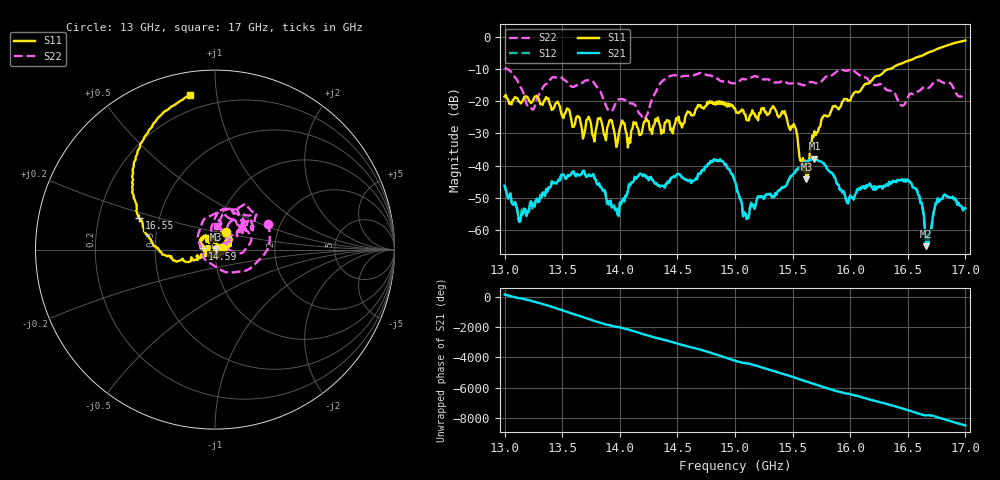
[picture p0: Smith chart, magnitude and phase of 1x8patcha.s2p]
!Keysight Technologies,P9374A,MY57211807,A.19.30.04
!Date: Friday, May 08, 2026 14:01:06
!Correction: S11(C  2-Port  )
!S21(C  2-Port  )
!S12(C  2-Port  )
!S22(C  2-Port  )
!S2P File: Measurements: S11, S21, S12, S22:
# Hz S  dB  R 50
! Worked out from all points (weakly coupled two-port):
!   401 points, 13 GHz to 17 GHz, reference 50 ohm
!   highest |S21| = -37.86 dB at 15.69 GHz (marker M1); lowest = -65.0 dB at 16.66 GHz (marker M2)
!   lowest |S11| = -44.2 dB at 15.62 GHz (marker M3), VSWR 1.01, Z = 50.5 + j0.395 ohm
!   |S11| at or under -10 dB: start of sweep to 16.35 GHz
!   |S22| runs from -25.8 to -9.7 dB; largest |S21 - S12| = 0.00047
!   S11 on the Smith chart (normalised r, x): 13 GHz: 1.11, +0.22; 14.59 GHz: 0.87, +0.01; 16.55 GHz: 0.39, +0.17; 17 GHz: 0.12, +0.84
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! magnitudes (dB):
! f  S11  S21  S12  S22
! 13 GHz  -18.6  -46.2  -46.1  -9.7
! 13.14 GHz  -20.7  -56.5  -57.0  -15.8
! 13.23 GHz  -20.6  -51.0  -51.4  -22.2
! 13.42 GHz  -22.5  -45.5  -45.3  -12.6
! 13.67 GHz  -28.3  -42.5  -42.6  -14.4
! 13.97 GHz  -34.2  -53.4  -53.2  -20.3
! 14.21 GHz  -26.4  -42.8  -42.7  -25.8
! 14.34 GHz  -26.7  -46.1  -46.1  -15.1
! 14.59 GHz  -23.1  -44.8  -44.8  -12.2
! 14.86 GHz  -20.0  -38.5  -38.6  -13.4
! 15 GHz  -22.2  -44.8  -44.7  -14.5
! 15.09 GHz  -24.1  -54.8  -55.0  -13.2
! 15.43 GHz  -23.1  -46.5  -46.7  -13.8
! 15.62 GHz  -44.2  -38.7  -38.7  -14.8
! 15.67 GHz  -30.7  -38.0  -38.0  -14.1
! 15.69 GHz  -29.4  -37.9  -37.9  -14.3
! 15.98 GHz  -20.0  -51.8  -51.6  -10.5
! 16.34 GHz  -10.1  -44.9  -45.1  -16.7
! 16.55 GHz  -6.8  -46.8  -46.8  -17.8
! 16.66 GHz  -5.3  -65.0  -65.0  -15.7
! 16.81 GHz  -3.1  -49.3  -49.4  -14.3
! 17 GHz  -1.2  -53.2  -53.1  -17.5
